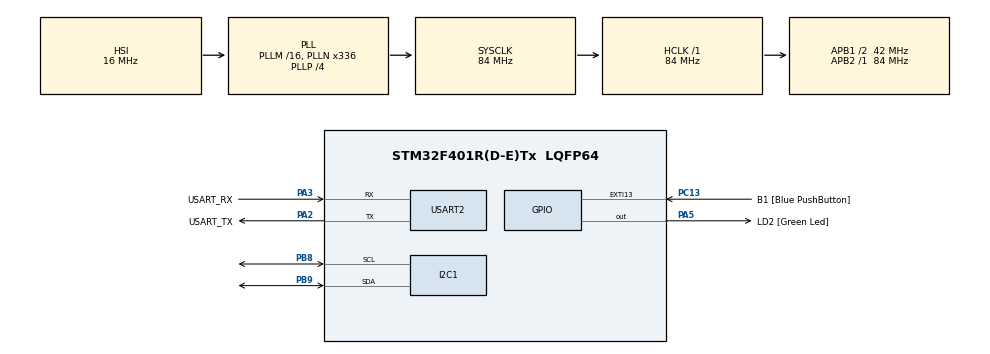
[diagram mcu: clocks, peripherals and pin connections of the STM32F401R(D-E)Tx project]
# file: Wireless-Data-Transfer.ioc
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I2C1.I2C_Mode=I2C_Fast
Mcu.Family=STM32F4
Mcu.Name=STM32F401R(D-E)Tx
Mcu.Package=LQFP64
NVIC.PriorityGroup=NVIC_PRIORITYGROUP_4
NVIC.USART2_IRQn=true\:0\:0\:false\:false\:true\:true\:true\:true
PA13.GPIO_Label=TMS
PA13.Mode=Trace_Asynchronous_SW
PA13.Signal=SYS_JTMS-SWDIO
PA14.GPIO_Label=TCK
PA14.Mode=Trace_Asynchronous_SW
PA14.Signal=SYS_JTCK-SWCLK
PA2.GPIO_Label=USART_TX
PA2.GPIO_Mode=GPIO_MODE_AF_PP
PA2.GPIO_PuPd=GPIO_NOPULL
PA2.GPIO_Speed=GPIO_SPEED_FREQ_LOW
PA2.Mode=Asynchronous
PA2.Signal=USART2_TX
PA3.GPIO_Label=USART_RX
PA3.GPIO_Mode=GPIO_MODE_AF_PP
PA3.GPIO_PuPd=GPIO_NOPULL
PA3.GPIO_Speed=GPIO_SPEED_FREQ_LOW
PA3.Mode=Asynchronous
PA3.Signal=USART2_RX
PA5.GPIO_Label=LD2 [Green Led]
PA5.GPIO_Mode=GPIO_MODE_OUTPUT_PP
PA5.GPIO_PuPd=GPIO_NOPULL
PA5.GPIO_Speed=GPIO_SPEED_FREQ_LOW
PA5.Signal=GPIO_Output
PB3.GPIO_Label=SWO
PB3.Mode=Trace_Asynchronous_SW
PB3.Signal=SYS_JTDO-SWO
PB8.Mode=I2C
PB8.Signal=I2C1_SCL
PB9.Mode=I2C
PB9.Signal=I2C1_SDA
PC13-ANTI_TAMP.GPIO_Label=B1 [Blue PushButton]
PC13-ANTI_TAMP.GPIO_ModeDefaultEXTI=GPIO_MODE_IT_FALLING
PC13-ANTI_TAMP.GPIO_PuPd=GPIO_NOPULL
PC13-ANTI_TAMP.Signal=GPXTI13
PC14-OSC32_IN.Mode=LSE-External-Oscillator
PC14-OSC32_IN.Signal=RCC_OSC32_IN
PC15-OSC32_OUT.Mode=LSE-External-Oscillator
PC15-OSC32_OUT.Signal=RCC_OSC32_OUT
PH0\ -\ OSC_IN.Mode=HSE-External-Clock-Source
PH0\ -\ OSC_IN.Signal=RCC_OSC_IN
PH1\ -\ OSC_OUT.Mode=HSE-External-Clock-Source
PH1\ -\ OSC_OUT.Signal=RCC_OSC_OUT
ProjectManager.HeapSize=0x200
ProjectManager.StackSize=0x400
ProjectManager.TargetToolchain=CMake
RCC.48MHZClocksFreq_Value=48000000
RCC.AHBFreq_Value=84000000
RCC.APB1CLKDivider=RCC_HCLK_DIV2
RCC.APB1Freq_Value=42000000
RCC.APB1TimFreq_Value=84000000
RCC.APB2Freq_Value=84000000
RCC.APB2TimFreq_Value=84000000
RCC.CortexFreq_Value=84000000
RCC.HCLKFreq_Value=84000000
RCC.HSE_VALUE=8000000
RCC.HSI_VALUE=16000000
RCC.PLLN=336
RCC.PLLP=RCC_PLLP_DIV4
RCC.PLLQ=7
RCC.SYSCLKFreq_VALUE=84000000
RCC.SYSCLKSource=RCC_SYSCLKSOURCE_PLLCLK
RCC.VCOOutputFreq_Value=336000000
USART2.VirtualMode=VM_ASYNC
board=NUCLEO-F401RE

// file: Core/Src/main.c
/* USER CODE BEGIN Header */
/**
  ******************************************************************************
  * @file           : main.c
  * @brief          : Main program body
  ******************************************************************************
  * @attention
  *
  * Copyright (c) 2026 STMicroelectronics.
  * All rights reserved.
  *
  * This software is licensed under terms that can be found in the LICENSE file
  * in the root directory of this software component.
  * If no LICENSE file comes with this software, it is provided AS-IS.
  *
  ******************************************************************************
  */
/* USER CODE END Header */
#include "main.h"

/* USER CODE BEGIN Includes */
#include <string.h>
#include "ssd1306.h"
#include "ssd1306_fonts.h"
/* USER CODE END Includes */

I2C_HandleTypeDef hi2c1;

UART_HandleTypeDef huart2;

/* USER CODE BEGIN PV */

uint8_t rx_byte;

/* USER CODE END PV */

void SystemClock_Config(void);
static void MX_GPIO_Init(void);
static void MX_I2C1_Init(void);
static void MX_USART2_UART_Init(void);
/* USER CODE BEGIN PFP */

void HAL_UART_RxCpltCallback(UART_HandleTypeDef *huart);

/* USER CODE END PFP */

int main(void)
{

  /* MCU Configuration--------------------------------------------------------*/

  /* Reset of all peripherals, Initializes the Flash interface and the Systick. */
  HAL_Init();

  /* Configure the system clock */
  SystemClock_Config();

  /* Initialize all configured peripherals */
  MX_GPIO_Init();
  MX_I2C1_Init();
  MX_USART2_UART_Init();
  MX_GPIO_Init();
  /* USER CODE BEGIN 2 */

  ssd1306_Init();
  ssd1306_Fill(Black);
  ssd1306_SetCursor(10, 10);
  ssd1306_WriteString("ESP32 test", Font_11x18, White);
  ssd1306_SetCursor(10, 35);
  ssd1306_WriteString("ESP32 test test", Font_7x10, White);
  ssd1306_UpdateScreen();

  /* USER CODE END 2 */

  /* Infinite loop */
  /* USER CODE BEGIN WHILE */
  HAL_UART_Receive_IT(&huart2, &rx_byte, 1);

  while (1)
  {
    /* USER CODE END WHILE */

  }
}

void SystemClock_Config(void)
{
  RCC_OscInitTypeDef RCC_OscInitStruct = {0};
  RCC_ClkInitTypeDef RCC_ClkInitStruct = {0};

  /** Configure the main internal regulator output voltage
  */
  __HAL_RCC_PWR_CLK_ENABLE();
  __HAL_PWR_VOLTAGESCALING_CONFIG(PWR_REGULATOR_VOLTAGE_SCALE2);

  /** Initializes the RCC Oscillators according to the specified parameters
  * in the RCC_OscInitTypeDef structure.
  */
  RCC_OscInitStruct.OscillatorType = RCC_OSCILLATORTYPE_HSI;
  RCC_OscInitStruct.HSIState = RCC_HSI_ON;
  RCC_OscInitStruct.HSICalibrationValue = RCC_HSICALIBRATION_DEFAULT;
  RCC_OscInitStruct.PLL.PLLState = RCC_PLL_ON;
  RCC_OscInitStruct.PLL.PLLSource = RCC_PLLSOURCE_HSI;
  RCC_OscInitStruct.PLL.PLLM = 16;
  RCC_OscInitStruct.PLL.PLLN = 336;
  RCC_OscInitStruct.PLL.PLLP = RCC_PLLP_DIV4;
  RCC_OscInitStruct.PLL.PLLQ = 7;
  if (HAL_RCC_OscConfig(&RCC_OscInitStruct) != HAL_OK)
  {
    Error_Handler();
  }

  /** Initializes the CPU, AHB and APB buses clocks
  */
  RCC_ClkInitStruct.ClockType = RCC_CLOCKTYPE_HCLK|RCC_CLOCKTYPE_SYSCLK
                              |RCC_CLOCKTYPE_PCLK1|RCC_CLOCKTYPE_PCLK2;
  RCC_ClkInitStruct.SYSCLKSource = RCC_SYSCLKSOURCE_PLLCLK;
  RCC_ClkInitStruct.AHBCLKDivider = RCC_SYSCLK_DIV1;
  RCC_ClkInitStruct.APB1CLKDivider = RCC_HCLK_DIV2;
  RCC_ClkInitStruct.APB2CLKDivider = RCC_HCLK_DIV1;

  if (HAL_RCC_ClockConfig(&RCC_ClkInitStruct, FLASH_LATENCY_2) != HAL_OK)
  {
    Error_Handler();
  }
}

static void MX_I2C1_Init(void)
{

  hi2c1.Instance = I2C1;
  hi2c1.Init.ClockSpeed = 400000;
  hi2c1.Init.DutyCycle = I2C_DUTYCYCLE_2;
  hi2c1.Init.OwnAddress1 = 0;
  hi2c1.Init.AddressingMode = I2C_ADDRESSINGMODE_7BIT;
  hi2c1.Init.DualAddressMode = I2C_DUALADDRESS_DISABLE;
  hi2c1.Init.OwnAddress2 = 0;
  hi2c1.Init.GeneralCallMode = I2C_GENERALCALL_DISABLE;
  hi2c1.Init.NoStretchMode = I2C_NOSTRETCH_DISABLE;
  if (HAL_I2C_Init(&hi2c1) != HAL_OK)
  {
    Error_Handler();
  }

}

static void MX_USART2_UART_Init(void)
{

  huart2.Instance = USART2;
  huart2.Init.BaudRate = 115200;
  huart2.Init.WordLength = UART_WORDLENGTH_8B;
  huart2.Init.StopBits = UART_STOPBITS_1;
  huart2.Init.Parity = UART_PARITY_NONE;
  huart2.Init.Mode = UART_MODE_TX_RX;
  huart2.Init.HwFlowCtl = UART_HWCONTROL_NONE;
  huart2.Init.OverSampling = UART_OVERSAMPLING_16;
  if (HAL_UART_Init(&huart2) != HAL_OK)
  {
    Error_Handler();
  }

}

static void MX_GPIO_Init(void)
{
  GPIO_InitTypeDef GPIO_InitStruct = {0};

  /* GPIO Ports Clock Enable */
  __HAL_RCC_GPIOC_CLK_ENABLE();
  __HAL_RCC_GPIOH_CLK_ENABLE();
  __HAL_RCC_GPIOA_CLK_ENABLE();
  __HAL_RCC_GPIOB_CLK_ENABLE();

  /*Configure GPIO pin Output Level */
  HAL_GPIO_WritePin(LD2_GPIO_Port, LD2_Pin, GPIO_PIN_RESET);

  /*Configure GPIO pin : B1_Pin */
  GPIO_InitStruct.Pin = B1_Pin;
  GPIO_InitStruct.Mode = GPIO_MODE_IT_FALLING;
  GPIO_InitStruct.Pull = GPIO_NOPULL;
  HAL_GPIO_Init(B1_GPIO_Port, &GPIO_InitStruct);

  /*Configure GPIO pin : LD2_Pin */
  GPIO_InitStruct.Pin = LD2_Pin;
  GPIO_InitStruct.Mode = GPIO_MODE_OUTPUT_PP;
  GPIO_InitStruct.Pull = GPIO_NOPULL;
  GPIO_InitStruct.Speed = GPIO_SPEED_FREQ_LOW;
  HAL_GPIO_Init(LD2_GPIO_Port, &GPIO_InitStruct);

}

/* USER CODE BEGIN 4 */

void HAL_UART_RxCpltCallback(UART_HandleTypeDef *huart)
{
  if (huart->Instance == USART2)
  {
    // Forward the received byte back out through USART2 to the ESP32
    HAL_UART_Transmit(&huart2, &rx_byte, 1, HAL_MAX_DELAY);

    // Re-enable interrupt-driven reception for the next incoming byte
    HAL_UART_Receive_IT(&huart2, &rx_byte, 1);
  }
}

/* USER CODE END 4 */

void Error_Handler(void)
{
  __disable_irq();
  while (1)
  {
  }
}
